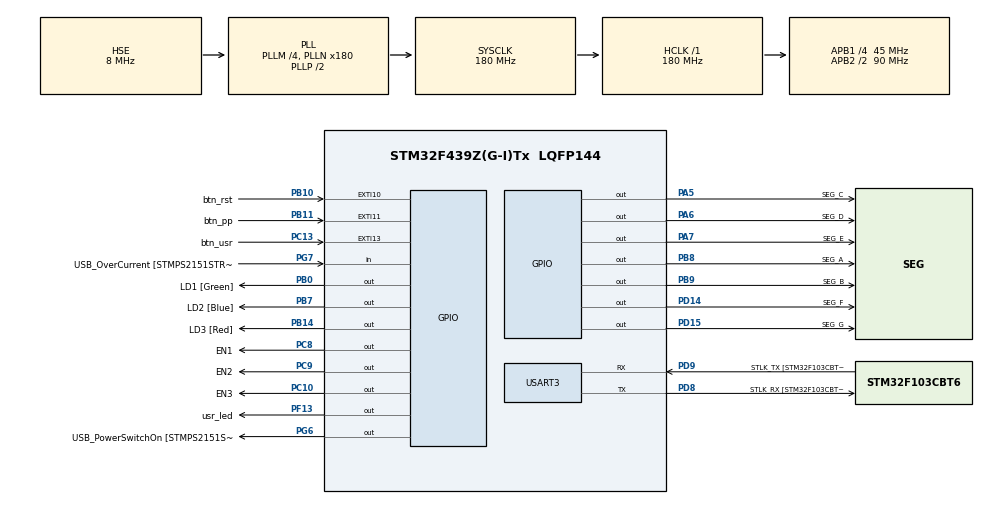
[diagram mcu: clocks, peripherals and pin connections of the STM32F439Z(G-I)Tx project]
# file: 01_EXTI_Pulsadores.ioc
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Mcu.Family=STM32F4
Mcu.Name=STM32F439Z(G-I)Tx
Mcu.Package=LQFP144
NVIC.EXTI15_10_IRQn=true\:0\:0\:false\:false\:true\:true\:true\:true
NVIC.PriorityGroup=NVIC_PRIORITYGROUP_4
PA13.GPIO_Label=TMS
PA13.Mode=Serial_Wire
PA13.Signal=SYS_JTMS-SWDIO
PA14.GPIO_Label=TCK
PA14.Mode=Serial_Wire
PA14.Signal=SYS_JTCK-SWCLK
PA5.GPIO_Label=SEG_C
PA5.Signal=GPIO_Output
PA6.GPIO_Label=SEG_D
PA6.Signal=GPIO_Output
PA7.GPIO_Label=SEG_E
PA7.Signal=GPIO_Output
PB0.GPIO_Label=LD1 [Green]
PB0.Signal=GPIO_Output
PB10.GPIO_Label=btn_rst
PB10.GPIO_ModeDefaultEXTI=GPIO_MODE_IT_FALLING
PB10.GPIO_PuPd=GPIO_PULLUP
PB10.Signal=GPXTI10
PB11.GPIO_Label=btn_pp
PB11.GPIO_ModeDefaultEXTI=GPIO_MODE_IT_FALLING
PB11.GPIO_PuPd=GPIO_PULLUP
PB11.Signal=GPXTI11
PB14.GPIO_Label=LD3 [Red]
PB14.Signal=GPIO_Output
PB7.GPIO_Label=LD2 [Blue]
PB7.Signal=GPIO_Output
PB8.GPIO_Label=SEG_A
PB8.Signal=GPIO_Output
PB9.GPIO_Label=SEG_B
PB9.Signal=GPIO_Output
PC10.GPIO_Label=EN3
PC10.Signal=GPIO_Output
PC13.GPIO_Label=btn_usr
PC13.Signal=GPXTI13
PC14/OSC32_IN.Mode=LSE-External-Oscillator
PC14/OSC32_IN.Signal=RCC_OSC32_IN
PC15/OSC32_OUT.Mode=LSE-External-Oscillator
PC15/OSC32_OUT.Signal=RCC_OSC32_OUT
PC8.GPIO_Label=EN1
PC8.Signal=GPIO_Output
PC9.GPIO_Label=EN2
PC9.Signal=GPIO_Output
PD14.GPIO_Label=SEG_F
PD14.Signal=GPIO_Output
PD15.GPIO_Label=SEG_G
PD15.Signal=GPIO_Output
PD8.GPIO_Label=STLK_RX [STM32F103CBT6_PA3]
PD8.Mode=Asynchronous
PD8.Signal=USART3_TX
PD9.GPIO_Label=STLK_TX [STM32F103CBT6_PA2]
PD9.Mode=Asynchronous
PD9.Signal=USART3_RX
PF13.GPIO_Label=usr_led
PF13.Signal=GPIO_Output
PG6.GPIO_Label=USB_PowerSwitchOn [STMPS2151STR_EN]
PG6.Signal=GPIO_Output
PG7.GPIO_Label=USB_OverCurrent [STMPS2151STR_FAULT]
PG7.Signal=GPIO_Input
PH0/OSC_IN.GPIO_Label=MCO [STM32F103CBT6_PA8]
PH0/OSC_IN.Mode=HSE-External-Oscillator
PH0/OSC_IN.Signal=RCC_OSC_IN
PH1/OSC_OUT.Mode=HSE-External-Oscillator
PH1/OSC_OUT.Signal=RCC_OSC_OUT
ProjectManager.HeapSize=0x200
ProjectManager.StackSize=0x400
ProjectManager.TargetToolchain=STM32CubeIDE
RCC.48MHZClocksFreq_Value=51428571.428571425
RCC.AHBFreq_Value=180000000
RCC.APB1CLKDivider=RCC_HCLK_DIV4
RCC.APB1Freq_Value=45000000
RCC.APB1TimFreq_Value=90000000
RCC.APB2CLKDivider=RCC_HCLK_DIV2
RCC.APB2Freq_Value=90000000
RCC.APB2TimFreq_Value=180000000
RCC.CortexFreq_Value=180000000
RCC.HCLKFreq_Value=180000000
RCC.HSE_VALUE=8000000
RCC.HSI_VALUE=16000000
RCC.PLLM=4
RCC.PLLMUL=RCC_PLL_MUL9
RCC.PLLN=180
RCC.PLLQ=7
RCC.PLLSourceVirtual=RCC_PLLSOURCE_HSE
RCC.PRESCALERUSB=RCC_USBCLKSOURCE_PLL_DIV1_5
RCC.SYSCLKFreq_VALUE=180000000
RCC.SYSCLKSource=RCC_SYSCLKSOURCE_PLLCLK
RCC.SYSCLKSourceVirtual=RCC_SYSCLKSOURCE_PLLCLK
RCC.USBFreq_Value=48000000
RCC.VCOOutputFreq_Value=360000000
USART3.VirtualMode=VM_ASYNC
board=NUCLEO-F439ZI

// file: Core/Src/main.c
/* USER CODE BEGIN Header */
/**
  ******************************************************************************
  * @file           : main.c
  * @brief          : Main program body
  ******************************************************************************
  * @attention
  *
  * Copyright (c) 2026 STMicroelectronics.
  * All rights reserved.
  *
  * This software is licensed under terms that can be found in the LICENSE file
  * in the root directory of this software component.
  * If no LICENSE file comes with this software, it is provided AS-IS.
  *
  ******************************************************************************
  */
/* USER CODE END Header */
#include "main.h"

UART_HandleTypeDef huart3;

/* USER CODE BEGIN PV */

// Tabla de segmentos para cátodo común (0-9)
uint8_t tabla_segmentos[] = {0x3F, 0x06, 0x5B, 0x4F, 0x66, 0x6D, 0x7D, 0x07, 0x7F, 0x6F};

// Array para guardar los 3 números que queremos mostrar (ej: {1, 2, 3})
uint8_t valores_display[3] = {0, 0, 0};

uint16_t contador_global = 0;
uint32_t ultimo_tiempo = 0;

uint8_t pausa_activada = 0; // 0 = Play, 1 = Pause

/* USER CODE END PV */

void SystemClock_Config(void);
static void MX_GPIO_Init(void);
static void MX_USART3_UART_Init(void);
/* USER CODE BEGIN PFP */

void Display_WriteBus(uint8_t byte);
void Display_Mux_Scan(void);

/* USER CODE END PFP */

/* USER CODE BEGIN 0 */

void Display_WriteBus(uint8_t byte) {
    HAL_GPIO_WritePin(SEG_A_GPIO_Port, SEG_A_Pin, (byte >> 0) & 0x01);
    HAL_GPIO_WritePin(SEG_B_GPIO_Port, SEG_B_Pin, (byte >> 1) & 0x01);
    HAL_GPIO_WritePin(SEG_C_GPIO_Port, SEG_C_Pin, (byte >> 2) & 0x01);
    HAL_GPIO_WritePin(SEG_D_GPIO_Port, SEG_D_Pin, (byte >> 3) & 0x01);
    HAL_GPIO_WritePin(SEG_E_GPIO_Port, SEG_E_Pin, (byte >> 4) & 0x01);
    HAL_GPIO_WritePin(SEG_F_GPIO_Port, SEG_F_Pin, (byte >> 5) & 0x01);
    HAL_GPIO_WritePin(SEG_G_GPIO_Port, SEG_G_Pin, (byte >> 6) & 0x01);
}

void Display_Mux_Scan(void) {
    for (int i = 0; i < 3; i++) {
        // 1. Apagar todos los habilitadores (Limpieza)
        HAL_GPIO_WritePin(EN1_GPIO_Port, EN1_Pin, GPIO_PIN_RESET);
        HAL_GPIO_WritePin(EN2_GPIO_Port, EN2_Pin, GPIO_PIN_RESET);
        HAL_GPIO_WritePin(EN3_GPIO_Port, EN3_Pin, GPIO_PIN_RESET);

        // 2. Cargar el número en el bus
        Display_WriteBus(tabla_segmentos[valores_display[i]]);

        // 3. Encender solo el transistor que corresponde
        if (i == 0) HAL_GPIO_WritePin(EN1_GPIO_Port, EN1_Pin, GPIO_PIN_SET);
        if (i == 1) HAL_GPIO_WritePin(EN2_GPIO_Port, EN2_Pin, GPIO_PIN_SET);
        if (i == 2) HAL_GPIO_WritePin(EN3_GPIO_Port, EN3_Pin, GPIO_PIN_SET);

        // 4. Retardo muy corto para que el ojo lo vea (Persistencia de Visión)
        HAL_Delay(5);
    }
}

/* USER CODE END 0 */

int main(void)
{

  /* MCU Configuration--------------------------------------------------------*/

  /* Reset of all peripherals, Initializes the Flash interface and the Systick. */
  HAL_Init();

  /* Configure the system clock */
  SystemClock_Config();

  /* Initialize all configured peripherals */
  MX_GPIO_Init();
  MX_USART3_UART_Init();
  /* USER CODE BEGIN 2 */

	  valores_display[0] = 1; // Primer display
	  valores_display[1] = 2; // Segundo display
	  valores_display[2] = 3; // Tercer display

  /* USER CODE END 2 */

  /* Infinite loop */
  while (1)
  {

    /* USER CODE BEGIN 3 */

	  // Solo incrementamos si NO está en pausa
	        if (pausa_activada == 0) {
	            if (HAL_GetTick() - ultimo_tiempo >= 100) {
	                ultimo_tiempo = HAL_GetTick();
	                contador_global++;
	                if (contador_global > 999) contador_global = 0;

	                valores_display[0] = (contador_global / 100) % 10;
	                valores_display[1] = (contador_global / 10) % 10;
	                valores_display[2] = contador_global % 10;
	            }
	        }

	        // El barrido SIEMPRE debe ejecutarse, incluso en pausa
	        Display_Mux_Scan();
  }
  /* USER CODE END 3 */
}

void SystemClock_Config(void)
{
  RCC_OscInitTypeDef RCC_OscInitStruct = {0};
  RCC_ClkInitTypeDef RCC_ClkInitStruct = {0};

  /** Configure the main internal regulator output voltage
  */
  __HAL_RCC_PWR_CLK_ENABLE();
  __HAL_PWR_VOLTAGESCALING_CONFIG(PWR_REGULATOR_VOLTAGE_SCALE1);

  /** Initializes the RCC Oscillators according to the specified parameters
  * in the RCC_OscInitTypeDef structure.
  */
  RCC_OscInitStruct.OscillatorType = RCC_OSCILLATORTYPE_HSE;
  RCC_OscInitStruct.HSEState = RCC_HSE_ON;
  RCC_OscInitStruct.PLL.PLLState = RCC_PLL_ON;
  RCC_OscInitStruct.PLL.PLLSource = RCC_PLLSOURCE_HSE;
  RCC_OscInitStruct.PLL.PLLM = 4;
  RCC_OscInitStruct.PLL.PLLN = 180;
  RCC_OscInitStruct.PLL.PLLP = RCC_PLLP_DIV2;
  RCC_OscInitStruct.PLL.PLLQ = 7;
  if (HAL_RCC_OscConfig(&RCC_OscInitStruct) != HAL_OK)
  {
    Error_Handler();
  }

  /** Activate the Over-Drive mode
  */
  if (HAL_PWREx_EnableOverDrive() != HAL_OK)
  {
    Error_Handler();
  }

  /** Initializes the CPU, AHB and APB buses clocks
  */
  RCC_ClkInitStruct.ClockType = RCC_CLOCKTYPE_HCLK|RCC_CLOCKTYPE_SYSCLK
                              |RCC_CLOCKTYPE_PCLK1|RCC_CLOCKTYPE_PCLK2;
  RCC_ClkInitStruct.SYSCLKSource = RCC_SYSCLKSOURCE_PLLCLK;
  RCC_ClkInitStruct.AHBCLKDivider = RCC_SYSCLK_DIV1;
  RCC_ClkInitStruct.APB1CLKDivider = RCC_HCLK_DIV4;
  RCC_ClkInitStruct.APB2CLKDivider = RCC_HCLK_DIV2;

  if (HAL_RCC_ClockConfig(&RCC_ClkInitStruct, FLASH_LATENCY_5) != HAL_OK)
  {
    Error_Handler();
  }
}

static void MX_USART3_UART_Init(void)
{

  huart3.Instance = USART3;
  huart3.Init.BaudRate = 115200;
  huart3.Init.WordLength = UART_WORDLENGTH_8B;
  huart3.Init.StopBits = UART_STOPBITS_1;
  huart3.Init.Parity = UART_PARITY_NONE;
  huart3.Init.Mode = UART_MODE_TX_RX;
  huart3.Init.HwFlowCtl = UART_HWCONTROL_NONE;
  huart3.Init.OverSampling = UART_OVERSAMPLING_16;
  if (HAL_UART_Init(&huart3) != HAL_OK)
  {
    Error_Handler();
  }

}

static void MX_GPIO_Init(void)
{
  GPIO_InitTypeDef GPIO_InitStruct = {0};

  /* GPIO Ports Clock Enable */
  __HAL_RCC_GPIOC_CLK_ENABLE();
  __HAL_RCC_GPIOH_CLK_ENABLE();
  __HAL_RCC_GPIOA_CLK_ENABLE();
  __HAL_RCC_GPIOB_CLK_ENABLE();
  __HAL_RCC_GPIOF_CLK_ENABLE();
  __HAL_RCC_GPIOD_CLK_ENABLE();
  __HAL_RCC_GPIOG_CLK_ENABLE();

  /*Configure GPIO pin Output Level */
  HAL_GPIO_WritePin(GPIOA, SEG_C_Pin|SEG_D_Pin|SEG_E_Pin, GPIO_PIN_RESET);

  /*Configure GPIO pin Output Level */
  HAL_GPIO_WritePin(GPIOB, LD1_Pin|LD3_Pin|LD2_Pin|SEG_A_Pin
                          |SEG_B_Pin, GPIO_PIN_RESET);

  /*Configure GPIO pin Output Level */
  HAL_GPIO_WritePin(usr_led_GPIO_Port, usr_led_Pin, GPIO_PIN_RESET);

  /*Configure GPIO pin Output Level */
  HAL_GPIO_WritePin(GPIOD, SEG_F_Pin|SEG_G_Pin, GPIO_PIN_RESET);

  /*Configure GPIO pin Output Level */
  HAL_GPIO_WritePin(USB_PowerSwitchOn_GPIO_Port, USB_PowerSwitchOn_Pin, GPIO_PIN_RESET);

  /*Configure GPIO pin Output Level */
  HAL_GPIO_WritePin(GPIOC, EN1_Pin|EN2_Pin|EN3_Pin, GPIO_PIN_RESET);

  /*Configure GPIO pin : btn_usr_Pin */
  GPIO_InitStruct.Pin = btn_usr_Pin;
  GPIO_InitStruct.Mode = GPIO_MODE_IT_RISING;
  GPIO_InitStruct.Pull = GPIO_NOPULL;
  HAL_GPIO_Init(btn_usr_GPIO_Port, &GPIO_InitStruct);

  /*Configure GPIO pins : SEG_C_Pin SEG_D_Pin SEG_E_Pin */
  GPIO_InitStruct.Pin = SEG_C_Pin|SEG_D_Pin|SEG_E_Pin;
  GPIO_InitStruct.Mode = GPIO_MODE_OUTPUT_PP;
  GPIO_InitStruct.Pull = GPIO_NOPULL;
  GPIO_InitStruct.Speed = GPIO_SPEED_FREQ_LOW;
  HAL_GPIO_Init(GPIOA, &GPIO_InitStruct);

  /*Configure GPIO pins : LD1_Pin LD3_Pin LD2_Pin SEG_A_Pin
                           SEG_B_Pin */
  GPIO_InitStruct.Pin = LD1_Pin|LD3_Pin|LD2_Pin|SEG_A_Pin
                          |SEG_B_Pin;
  GPIO_InitStruct.Mode = GPIO_MODE_OUTPUT_PP;
  GPIO_InitStruct.Pull = GPIO_NOPULL;
  GPIO_InitStruct.Speed = GPIO_SPEED_FREQ_LOW;
  HAL_GPIO_Init(GPIOB, &GPIO_InitStruct);

  /*Configure GPIO pin : usr_led_Pin */
  GPIO_InitStruct.Pin = usr_led_Pin;
  GPIO_InitStruct.Mode = GPIO_MODE_OUTPUT_PP;
  GPIO_InitStruct.Pull = GPIO_NOPULL;
  GPIO_InitStruct.Speed = GPIO_SPEED_FREQ_LOW;
  HAL_GPIO_Init(usr_led_GPIO_Port, &GPIO_InitStruct);

  /*Configure GPIO pins : btn_rst_Pin btn_pp_Pin */
  GPIO_InitStruct.Pin = btn_rst_Pin|btn_pp_Pin;
  GPIO_InitStruct.Mode = GPIO_MODE_IT_FALLING;
  GPIO_InitStruct.Pull = GPIO_PULLUP;
  HAL_GPIO_Init(GPIOB, &GPIO_InitStruct);

  /*Configure GPIO pins : SEG_F_Pin SEG_G_Pin */
  GPIO_InitStruct.Pin = SEG_F_Pin|SEG_G_Pin;
  GPIO_InitStruct.Mode = GPIO_MODE_OUTPUT_PP;
  GPIO_InitStruct.Pull = GPIO_NOPULL;
  GPIO_InitStruct.Speed = GPIO_SPEED_FREQ_LOW;
  HAL_GPIO_Init(GPIOD, &GPIO_InitStruct);

  /*Configure GPIO pin : USB_PowerSwitchOn_Pin */
  GPIO_InitStruct.Pin = USB_PowerSwitchOn_Pin;
  GPIO_InitStruct.Mode = GPIO_MODE_OUTPUT_PP;
  GPIO_InitStruct.Pull = GPIO_NOPULL;
  GPIO_InitStruct.Speed = GPIO_SPEED_FREQ_LOW;
  HAL_GPIO_Init(USB_PowerSwitchOn_GPIO_Port, &GPIO_InitStruct);

  /*Configure GPIO pin : USB_OverCurrent_Pin */
  GPIO_InitStruct.Pin = USB_OverCurrent_Pin;
  GPIO_InitStruct.Mode = GPIO_MODE_INPUT;
  GPIO_InitStruct.Pull = GPIO_NOPULL;
  HAL_GPIO_Init(USB_OverCurrent_GPIO_Port, &GPIO_InitStruct);

  /*Configure GPIO pins : EN1_Pin EN2_Pin EN3_Pin */
  GPIO_InitStruct.Pin = EN1_Pin|EN2_Pin|EN3_Pin;
  GPIO_InitStruct.Mode = GPIO_MODE_OUTPUT_PP;
  GPIO_InitStruct.Pull = GPIO_NOPULL;
  GPIO_InitStruct.Speed = GPIO_SPEED_FREQ_LOW;
  HAL_GPIO_Init(GPIOC, &GPIO_InitStruct);

  /* EXTI interrupt init*/
  HAL_NVIC_SetPriority(EXTI15_10_IRQn, 0, 0);
  HAL_NVIC_EnableIRQ(EXTI15_10_IRQn);

}

/* USER CODE BEGIN 4 */

void HAL_GPIO_EXTI_Callback(uint16_t GPIO_Pin)
{
    // BOTÓN DE RESET
    if (GPIO_Pin == btn_rst_Pin)
    {
        contador_global = 0;
        valores_display[0] = 0;
        valores_display[1] = 0;
        valores_display[2] = 0;
    }

    // BOTÓN DE PAUSE / PLAY
    if (GPIO_Pin == btn_pp_Pin)
    {
        pausa_activada = !pausa_activada; // Cambia el estado (Toggle)
        HAL_GPIO_TogglePin(usr_led_GPIO_Port, usr_led_Pin); // LED azul para indicar pausa
    }
}

/* USER CODE END 4 */

void Error_Handler(void)
{
  __disable_irq();
  while (1)
  {
  }
}
